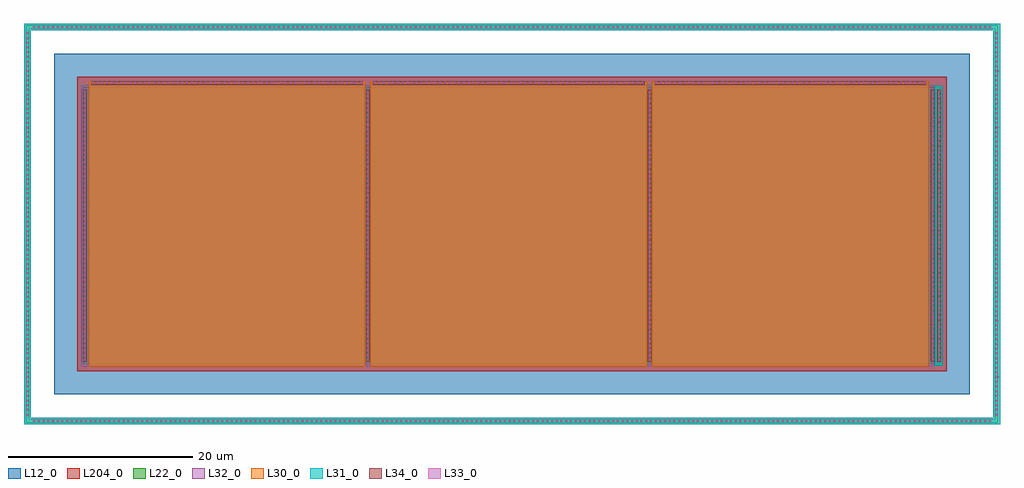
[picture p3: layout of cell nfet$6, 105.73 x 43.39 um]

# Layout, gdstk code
import gdstk
lib = gdstk.Library(unit=1e-6, precision=1e-09)
def R(c, l, rs):  # rectangles x0, y0, x1, y1
    for r in rs: c.add(gdstk.rectangle(r[:2], r[2:], *l))
def A(c, l, x, y, w, h, nx, ny, dx, dy):  # array of equal rectangles
    R(c, l, [(x+i*dx, y+j*dy, x+i*dx+w, y+j*dy+h) for i in range(nx) for j in range(ny)])
def P(c, l, *ps):  # polygons
    for p in ps: c.add(gdstk.Polygon(p, *l))
L12_0 = (12, 0)
L22_0 = (22, 0)
L30_0 = (30, 0)
L31_0 = (31, 0)
L32_0 = (32, 0)
L33_0 = (33, 0)
L34_0 = (34, 0)
L204_0 = (204, 0)

nfet_6 = lib.new_cell('nfet$6')
R(nfet_6, L12_0, [(-3.55,-3.26,95.68,33.63)])
R(nfet_6, L22_0, [(-0.42,0,0,30), (0,0,91.42,30), (91.42,0,91.84,30), (91.84,0,92.55,30)])
P(nfet_6, L22_0, [(-6.63,-6.34),(-6.63,36.33),(-6.25,36.33),(-6.25,-5.96),(98.38,-5.96),(98.38,36.33),(-6.63,36.33),(-6.63,36.71),(98.76,36.71),(98.76,-6.34)])
A(nfet_6, L30_0, 0.19, -0.3, 30, 30.6, 3, 1, 30.52, 0)
A(nfet_6, L30_0, 0.19, 30.3, 30, 0.36, 3, 1, 30.52, 0)
R(nfet_6, L31_0, [(91.84,-0.17,92.72,30.17)])
P(nfet_6, L31_0, [(-6.8,-6.51),(-6.8,36.16),(-6.08,36.16),(-6.08,-5.79),(98.21,-5.79),(98.21,36.16),(-6.8,36.16),(-6.8,36.88),(98.93,36.88),(98.93,-6.51)])
R(nfet_6, L32_0, [(-0.59,-0.24,91.84,30.24)])
A(nfet_6, L33_0, -5.81, -6.26, 0.22, 0.22, 204, 2, 0.51, 42.67)
A(nfet_6, L33_0, -6.55, -5.58, 0.22, 0.22, 1, 82, 0, 0.51)
A(nfet_6, L33_0, 98.46, -5.58, 0.22, 0.22, 1, 82, 0, 0.51)
A(nfet_6, L33_0, -0.32, 0.355, 0.22, 0.22, 1, 58, 0, 0.51)
A(nfet_6, L33_0, 30.34, 0.355, 0.22, 0.22, 1, 58, 0, 0.51)
A(nfet_6, L33_0, 60.86, 0.355, 0.22, 0.22, 1, 58, 0, 0.51)
A(nfet_6, L33_0, 91.52, 0.355, 0.22, 0.22, 1, 58, 0, 0.51)
A(nfet_6, L33_0, 92.23, 0.355, 0.22, 0.22, 1, 58, 0, 0.51)
A(nfet_6, L33_0, 0.545, 30.37, 0.22, 0.22, 58, 1, 0.51, 0)
A(nfet_6, L33_0, 31.065, 30.37, 0.22, 0.22, 58, 1, 0.51, 0)
A(nfet_6, L33_0, 61.585, 30.37, 0.22, 0.22, 58, 1, 0.51, 0)
A(nfet_6, L34_0, 0.465, 30.29, 29.45, 0.38, 3, 1, 30.52, 0)
R(nfet_6, L34_0, [(-0.4,0.275,-0.02,29.725), (30.26,0.275,30.64,29.725), (60.78,0.275,61.16,29.725), (91.44,0.275,91.82,29.725), (92.15,0.275,92.53,29.725)])
R(nfet_6, L204_0, [(-1.04,-0.75,93.17,31.12)])

lib.write_gds('nfet_6.gds')
